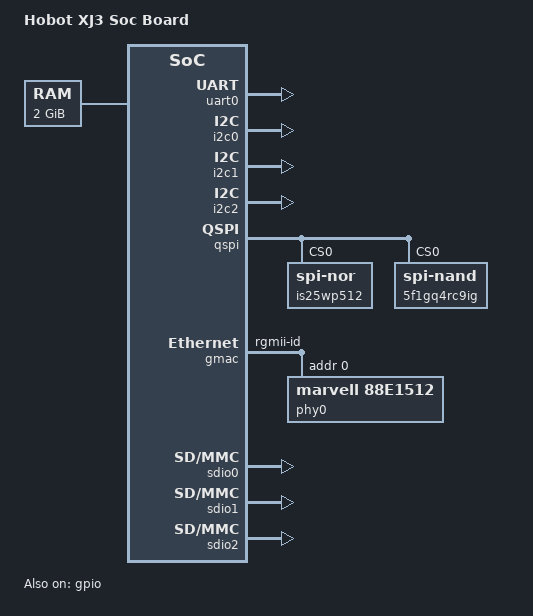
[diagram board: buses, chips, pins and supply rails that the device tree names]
/*
 * dts file for Hobot X3 soc
 *
 * (C) Copyright 2017 - 2018, Hobot, Inc.
 *
 * SPDX-License-Identifier:	GPL-2.0+
 */

/dts-v1/;

#include "hobot-xj3.dtsi"

/ {
	model = "Hobot XJ3 Soc Board";
	compatible = "hobot,x3";

	aliases {
		serial0 = &uart0;
		spi0	= &qspi;
		gmac0 	= &gmac;
		mmc0    = &sdio0;
		mmc1   	= &sdio1;
		mmc2   	= &sdio2;
		i2c0    = &i2c0;
		i2c1    = &i2c1;
		i2c2    = &i2c2;
	};

	chosen {
		bootargs = "";
//		stdout-path = "serial0:921600n8";
	};

	memory@0 {
		device_type = "memory";
		reg = <0x0 0x0 0x0 0x80000000>;
	};

	gpio: gpio@a6003000 {
		compatible = "hobot,x2-gpio-1.0";
		status = "okay";
		#gpio-cells = <0x2>;
		reg = <0x0 0xa6003000 0x0 0x100>;
	};

};

&uart0 {
	status = "okay";
};

&i2c0 {
       status = "okay";
};

&i2c1 {
       status = "okay";
};

&i2c2 {
       status = "okay";
};

&qspi {
	status = "okay";
	#address-cells = <1>;
	#size-cells = <0>;
	spi-max-frequency = <62500000>;
	spi-tx-bus-width = <4>;
	spi-rx-bus-width = <4>;

	is25wp512@0 {
		u-boot,dm-pre-reloc;
		compatible = "jedec,spi-nor";
		reg = <0x0>;
	};

	5f1gq4rc9ig@0 {
		u-boot,dm-pre-reloc;
		compatible = "spi-nand";
		reg = <0x0>;
	};

};

&gmac {
        status = "okay";
        #address-cells = <0x1>;
        #size-cells = <0x0>;
        phyaddr = <0xe>; //for dvb
        #phyaddr = <0x0>; //for cvb

	phy-mode = "rgmii-id";
	phy0: ethernet-phy@0 {
		compatible = "marvell,88E1512","ethernet-phy-ieee802.3-c22";
		reg = <0x0>;
	};
};

&sdio0 {
	status = "okay";
};

&sdio1 {
	status = "okay";
};

&sdio2 {
	status = "okay";
};
